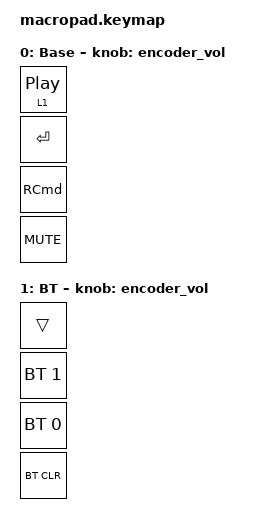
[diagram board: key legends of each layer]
#include <behaviors.dtsi>
#include <dt-bindings/zmk/keys.h>
#include <dt-bindings/zmk/bt.h>

&lt {
    tapping-term-ms = <300>;
};

/ {
    behaviors {
        encoder_vol: encoder_vol {
            compatible = "zmk,behavior-sensor-rotate";
            #sensor-binding-cells = <0>;
            bindings = <&kp C_VOL_UP>, <&kp C_VOL_DN>;
        };
    };

    keymap {
        compatible = "zmk,keymap";

        default_layer {
            display-name = "Base";
            bindings = <
                &lt 1 C_PP         // D0 - SPC position: tap = play/pause, hold = Bluetooth layer
                &kp ENTER          // D1 - ENT
                &kp RCMD           // D2 - VOX position (VoiceInk toggle)
                &kp C_MUTE         // D3 - encoder push (mute)
            >;

            sensor-bindings = <&encoder_vol>;
        };

        bluetooth_layer {
            display-name = "BT";
            bindings = <
                &trans             // (SPC itself, being held)
                &bt BT_SEL 1       // hold SPC + ENT = connect to computer 2
                &bt BT_SEL 0       // hold SPC + VOX = connect to computer 1
                &bt BT_CLR         // hold SPC + knob click = clear current profile's pairing
            >;

            sensor-bindings = <&encoder_vol>;
        };
    };
};
